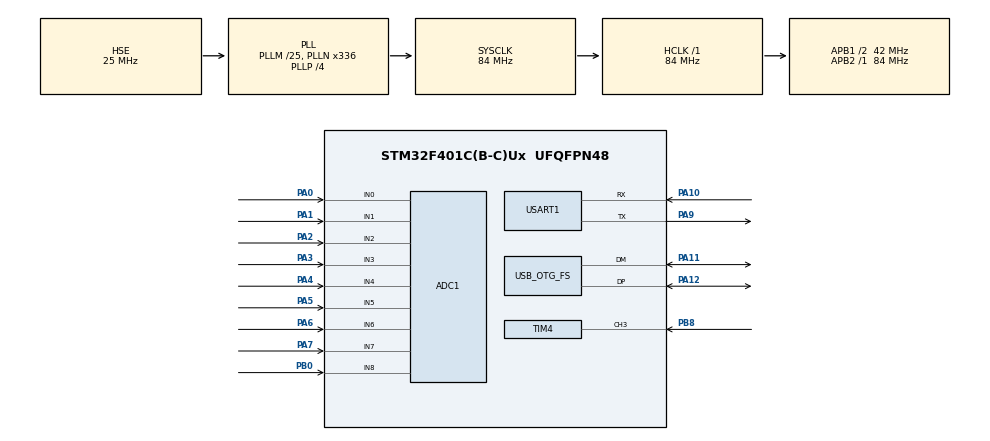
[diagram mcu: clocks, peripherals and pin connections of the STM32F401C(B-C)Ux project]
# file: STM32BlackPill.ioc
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ADC1.Channel-0\#ChannelRegularConversion=ADC_CHANNEL_0
ADC1.Channel-1\#ChannelRegularConversion=ADC_CHANNEL_1
ADC1.Channel-2\#ChannelRegularConversion=ADC_CHANNEL_2
ADC1.Channel-3\#ChannelRegularConversion=ADC_CHANNEL_3
ADC1.Channel-4\#ChannelRegularConversion=ADC_CHANNEL_4
ADC1.Channel-5\#ChannelRegularConversion=ADC_CHANNEL_5
ADC1.Channel-6\#ChannelRegularConversion=ADC_CHANNEL_6
ADC1.Channel-7\#ChannelRegularConversion=ADC_CHANNEL_7
ADC1.Channel-8\#ChannelRegularConversion=ADC_CHANNEL_8
ADC1.ContinuousConvMode=ENABLE
ADC1.DMAContinuousRequests=ENABLE
ADC1.NbrOfConversion=9
ADC1.NbrOfConversionFlag=1
ADC1.Rank-0\#ChannelRegularConversion=1
ADC1.Rank-1\#ChannelRegularConversion=2
ADC1.Rank-2\#ChannelRegularConversion=3
ADC1.Rank-3\#ChannelRegularConversion=4
ADC1.Rank-4\#ChannelRegularConversion=5
ADC1.Rank-5\#ChannelRegularConversion=6
ADC1.Rank-6\#ChannelRegularConversion=7
ADC1.Rank-7\#ChannelRegularConversion=8
ADC1.Rank-8\#ChannelRegularConversion=9
ADC1.SamplingTime-0\#ChannelRegularConversion=ADC_SAMPLETIME_480CYCLES
ADC1.SamplingTime-1\#ChannelRegularConversion=ADC_SAMPLETIME_480CYCLES
ADC1.SamplingTime-2\#ChannelRegularConversion=ADC_SAMPLETIME_480CYCLES
ADC1.SamplingTime-3\#ChannelRegularConversion=ADC_SAMPLETIME_480CYCLES
ADC1.SamplingTime-4\#ChannelRegularConversion=ADC_SAMPLETIME_480CYCLES
ADC1.SamplingTime-5\#ChannelRegularConversion=ADC_SAMPLETIME_480CYCLES
ADC1.SamplingTime-6\#ChannelRegularConversion=ADC_SAMPLETIME_480CYCLES
ADC1.SamplingTime-7\#ChannelRegularConversion=ADC_SAMPLETIME_480CYCLES
ADC1.SamplingTime-8\#ChannelRegularConversion=ADC_SAMPLETIME_480CYCLES
ADC1.ScanConvMode=ENABLE
ADC1.master=1
Dma.ADC1.0.Direction=DMA_PERIPH_TO_MEMORY
Dma.ADC1.0.FIFOMode=DMA_FIFOMODE_DISABLE
Dma.ADC1.0.Instance=DMA2_Stream0
Dma.ADC1.0.MemDataAlignment=DMA_MDATAALIGN_HALFWORD
Dma.ADC1.0.MemInc=DMA_MINC_ENABLE
Dma.ADC1.0.Mode=DMA_CIRCULAR
Dma.ADC1.0.PeriphDataAlignment=DMA_PDATAALIGN_HALFWORD
Dma.ADC1.0.PeriphInc=DMA_PINC_DISABLE
Dma.ADC1.0.Priority=DMA_PRIORITY_LOW
Dma.Request0=ADC1
Dma.Request1=TIM4_CH3
Dma.TIM4_CH3.1.Direction=DMA_PERIPH_TO_MEMORY
Dma.TIM4_CH3.1.FIFOMode=DMA_FIFOMODE_DISABLE
Dma.TIM4_CH3.1.Instance=DMA1_Stream7
Dma.TIM4_CH3.1.MemDataAlignment=DMA_MDATAALIGN_WORD
Dma.TIM4_CH3.1.MemInc=DMA_MINC_ENABLE
Dma.TIM4_CH3.1.Mode=DMA_NORMAL
Dma.TIM4_CH3.1.PeriphDataAlignment=DMA_PDATAALIGN_WORD
Dma.TIM4_CH3.1.PeriphInc=DMA_PINC_DISABLE
Dma.TIM4_CH3.1.Priority=DMA_PRIORITY_LOW
FREERTOS.Tasks01=defaultTask,0,128,StartDefaultTask,Default,NULL,Dynamic,NULL,NULL;TaskTanah,2,512,StartTaskTanah,Default,NULL,Dynamic,NULL,NULL;TaskDHT22,2,512,StartTaskDHT22,Default,NULL,Dynamic,NULL,NULL;TaskTelemetry,0,512,StartTaskTelemetry,Default,NULL,Dynamic,NULL,NULL
FREERTOS.configUSE_NEWLIB_REENTRANT=1
Mcu.Family=STM32F4
Mcu.Name=STM32F401C(B-C)Ux
Mcu.Package=UFQFPN48
NVIC.DMA1_Stream7_IRQn=true\:5\:0\:false\:false\:true\:true\:false\:true\:true
NVIC.DMA2_Stream0_IRQn=true\:5\:0\:false\:false\:true\:true\:false\:true\:true
NVIC.OTG_FS_IRQn=true\:5\:0\:false\:false\:true\:true\:false\:true\:true
NVIC.PriorityGroup=NVIC_PRIORITYGROUP_4
NVIC.TIM5_IRQn=true\:15\:0\:false\:false\:true\:false\:false\:true\:true
NVIC.TimeBase=TIM5_IRQn
NVIC.TimeBaseIP=TIM5
PA0-WKUP.Signal=ADCx_IN0
PA1.Signal=ADCx_IN1
PA10.Mode=Asynchronous
PA10.Signal=USART1_RX
PA11.Mode=Device_Only
PA11.Signal=USB_OTG_FS_DM
PA12.Mode=Device_Only
PA12.Signal=USB_OTG_FS_DP
PA2.Signal=ADCx_IN2
PA3.Signal=ADCx_IN3
PA4.Signal=ADCx_IN4
PA5.Signal=ADCx_IN5
PA6.Signal=ADCx_IN6
PA7.Signal=ADCx_IN7
PA9.Mode=Asynchronous
PA9.Signal=USART1_TX
PB0.Signal=ADCx_IN8
PB8.Signal=S_TIM4_CH3
PH0\ -\ OSC_IN.Mode=HSE-External-Oscillator
PH0\ -\ OSC_IN.Signal=RCC_OSC_IN
PH1\ -\ OSC_OUT.Mode=HSE-External-Oscillator
PH1\ -\ OSC_OUT.Signal=RCC_OSC_OUT
ProjectManager.HeapSize=0x200
ProjectManager.StackSize=0x400
ProjectManager.TargetToolchain=STM32CubeIDE
RCC.48MHZClocksFreq_Value=48000000
RCC.AHBFreq_Value=84000000
RCC.APB1CLKDivider=RCC_HCLK_DIV2
RCC.APB1Freq_Value=42000000
RCC.APB1TimFreq_Value=84000000
RCC.APB2Freq_Value=84000000
RCC.APB2TimFreq_Value=84000000
RCC.CortexFreq_Value=84000000
RCC.HCLKFreq_Value=84000000
RCC.HSE_VALUE=25000000
RCC.HSI_VALUE=16000000
RCC.LSE_VALUE=32768
RCC.PLLM=25
RCC.PLLN=336
RCC.PLLP=RCC_PLLP_DIV4
RCC.PLLQ=7
RCC.SYSCLKFreq_VALUE=84000000
RCC.SYSCLKSource=RCC_SYSCLKSOURCE_PLLCLK
RCC.VCOOutputFreq_Value=336000000
SH.ADCx_IN0.0=ADC1_IN0,IN0
SH.ADCx_IN1.0=ADC1_IN1,IN1
SH.ADCx_IN2.0=ADC1_IN2,IN2
SH.ADCx_IN3.0=ADC1_IN3,IN3
SH.ADCx_IN4.0=ADC1_IN4,IN4
SH.ADCx_IN5.0=ADC1_IN5,IN5
SH.ADCx_IN6.0=ADC1_IN6,IN6
SH.ADCx_IN7.0=ADC1_IN7,IN7
SH.ADCx_IN8.0=ADC1_IN8,IN8
SH.S_TIM4_CH3.0=TIM4_CH3,Input_Capture3_from_TI3
TIM4.Channel-Input_Capture3_from_TI3=TIM_CHANNEL_3
TIM4.ICPolarity_CH3=TIM_INPUTCHANNELPOLARITY_FALLING
TIM4.Prescaler=83
USART1.VirtualMode=VM_ASYNC
USB_DEVICE.CLASS_NAME_FS=CDC
USB_DEVICE.VirtualMode=Cdc
USB_DEVICE.VirtualModeFS=Cdc_FS
USB_OTG_FS.VirtualMode=Device_Only
VP_FREERTOS_VS_CMSIS_V1.Mode=CMSIS_V1
VP_SYS_VS_tim5.Mode=TIM5
VP_TIM4_VS_ClockSourceINT.Mode=Internal
VP_USB_DEVICE_VS_USB_DEVICE_CDC_FS.Mode=CDC_FS
board=custom

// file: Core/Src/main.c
/* USER CODE BEGIN Header */
/**
 ******************************************************************************
 * @file           : main.c
 * @brief          : Main program body
 ******************************************************************************
 * @attention
 *
 * Copyright (c) 2026 STMicroelectronics.
 * All rights reserved.
 *
 * This software is licensed under terms that can be found in the LICENSE file
 * in the root directory of this software component.
 * If no LICENSE file comes with this software, it is provided AS-IS.
 *
 ******************************************************************************
 */
/* USER CODE END Header */
#include "main.h"
#include "cmsis_os.h"
#include "usb_device.h"

/* USER CODE BEGIN Includes */
#include <stdio.h>
#include <string.h>
#include <usbd_cdc_if.h>
#include <math.h>
/* USER CODE END Includes */

ADC_HandleTypeDef hadc1;
DMA_HandleTypeDef hdma_adc1;

TIM_HandleTypeDef htim4;
DMA_HandleTypeDef hdma_tim4_ch3;

UART_HandleTypeDef huart1;

osThreadId defaultTaskHandle;
osThreadId TaskTanahHandle;
osThreadId TaskDHT22Handle;
osThreadId TaskTelemetryHandle;
/* USER CODE BEGIN PV */
float persentase_tanah[9] = { 0 };

volatile uint16_t adc_dma_buffer[9];
volatile float suhu_udara = 0.0f;
volatile float kelembapan_udara = 0.0f;
volatile float vpd_saat_ini = 0.0f;

const float ADC_DRY = 2104.2f;
const float ADC_WET = 913.7f;

uint32_t dma_capture_data[42];
/* USER CODE END PV */

void SystemClock_Config(void);
static void MX_GPIO_Init(void);
static void MX_DMA_Init(void);
static void MX_USART1_UART_Init(void);
static void MX_ADC1_Init(void);
static void MX_TIM4_Init(void);
void StartDefaultTask(void const * argument);
void StartTaskTanah(void const * argument);
void StartTaskDHT22(void const * argument);
void StartTaskTelemetry(void const * argument);

/* USER CODE BEGIN 0 */
int _write(int file, char *ptr, int len) {
	CDC_Transmit_FS((uint8_t*) ptr, len);

	osDelay(2);
	return len;
}

void Read_SensorUdara(volatile float *temp, volatile float *hum) {
	GPIO_InitTypeDef GPIO_InitStruct = { 0 };
	HAL_TIM_IC_Stop_DMA(&htim4, TIM_CHANNEL_3);
	htim4.State = HAL_TIM_STATE_READY;

	memset(dma_capture_data, 0, sizeof(dma_capture_data));
	__HAL_TIM_SET_COUNTER(&htim4, 0);

	GPIO_InitStruct.Pin = GPIO_PIN_8;
	GPIO_InitStruct.Mode = GPIO_MODE_OUTPUT_OD;
	GPIO_InitStruct.Pull = GPIO_PULLUP;
	GPIO_InitStruct.Speed = GPIO_SPEED_FREQ_HIGH;
	HAL_GPIO_Init(GPIOB, &GPIO_InitStruct);

	HAL_GPIO_WritePin(GPIOB, GPIO_PIN_8, GPIO_PIN_RESET);
	osDelay(2);

	HAL_TIM_IC_Start_DMA(&htim4, TIM_CHANNEL_3, (uint32_t*) dma_capture_data,
			42);

	HAL_GPIO_WritePin(GPIOB, GPIO_PIN_8, GPIO_PIN_SET);

	GPIO_InitStruct.Mode = GPIO_MODE_AF_OD;
	GPIO_InitStruct.Alternate = GPIO_AF2_TIM4;
	HAL_GPIO_Init(GPIOB, &GPIO_InitStruct);

	osDelay(10);

	HAL_TIM_IC_Stop_DMA(&htim4, TIM_CHANNEL_3);

	if (dma_capture_data[41] == 0) {
		printf("[DHT DMA ERROR] Timeout! Sensor Tidak Merespon atau Kabel Kendor.\n");

		return;
	}

	uint8_t bytes[5] = { 0, 0, 0, 0, 0 };

	for (int i = 0; i < 40; i++) {
		uint32_t selisih_waktu = dma_capture_data[i + 2]
				- dma_capture_data[i + 1];
		bytes[i / 8] <<= 1;
		if (selisih_waktu > 100) {
			bytes[i / 8] |= 1;
		}
	}

	uint8_t checksum = bytes[0] + bytes[1] + bytes[2] + bytes[3];
	if (bytes[4] == checksum) {
		*hum = (float) (((uint16_t) bytes[0] << 8) | bytes[1]) / 10.0f;

		float t = (float) (((uint16_t) (bytes[2] & 0x7F) << 8) | bytes[3])
				/ 10.0f;
		if (bytes[2] & 0x80) {
			t *= -1.0f;
		}
		*temp = t;

//		printf("[DHT22 DMA] Suhu: %.1f C | Hum: %.1f %%\n", *temp, *hum);
	} else {
		printf(
				"[DHT DMA ERROR] Checksum Gagal! Raw: %02X %02X %02X %02X %02X\n",
				bytes[0], bytes[1], bytes[2], bytes[3], bytes[4]);
	}
}

float Calculate_VPD(float temp_c, float rh) {
	float svp = 0.61078f * expf((17.27f * temp_c) / (temp_c + 237.3f));

	float avp = svp * (rh / 100.0f);
	return svp - avp;
}
/* USER CODE END 0 */

int main(void)
{

  /* MCU Configuration--------------------------------------------------------*/

  /* Reset of all peripherals, Initializes the Flash interface and the Systick. */
  HAL_Init();

  /* Configure the system clock */
  SystemClock_Config();

  /* Initialize all configured peripherals */
  MX_GPIO_Init();
  MX_DMA_Init();
  MX_USART1_UART_Init();
  MX_ADC1_Init();
  MX_TIM4_Init();
  /* USER CODE BEGIN 2 */
	HAL_ADC_Start_DMA(&hadc1, (uint32_t*) adc_dma_buffer, 9);
  /* USER CODE END 2 */

  /* Create the thread(s) */
  /* definition and creation of defaultTask */
  osThreadDef(defaultTask, StartDefaultTask, osPriorityNormal, 0, 128);
  defaultTaskHandle = osThreadCreate(osThread(defaultTask), NULL);

  /* definition and creation of TaskTanah */
  osThreadDef(TaskTanah, StartTaskTanah, osPriorityHigh, 0, 512);
  TaskTanahHandle = osThreadCreate(osThread(TaskTanah), NULL);

  /* definition and creation of TaskDHT22 */
  osThreadDef(TaskDHT22, StartTaskDHT22, osPriorityHigh, 0, 512);
  TaskDHT22Handle = osThreadCreate(osThread(TaskDHT22), NULL);

  /* definition and creation of TaskTelemetry */
  osThreadDef(TaskTelemetry, StartTaskTelemetry, osPriorityNormal, 0, 512);
  TaskTelemetryHandle = osThreadCreate(osThread(TaskTelemetry), NULL);

  /* Start scheduler */
  osKernelStart();

  /* We should never get here as control is now taken by the scheduler */

  /* Infinite loop */
	while (1) {

	}
}

void SystemClock_Config(void)
{
  RCC_OscInitTypeDef RCC_OscInitStruct = {0};
  RCC_ClkInitTypeDef RCC_ClkInitStruct = {0};

  /** Configure the main internal regulator output voltage
  */
  __HAL_RCC_PWR_CLK_ENABLE();
  __HAL_PWR_VOLTAGESCALING_CONFIG(PWR_REGULATOR_VOLTAGE_SCALE2);

  /** Initializes the RCC Oscillators according to the specified parameters
  * in the RCC_OscInitTypeDef structure.
  */
  RCC_OscInitStruct.OscillatorType = RCC_OSCILLATORTYPE_HSE;
  RCC_OscInitStruct.HSEState = RCC_HSE_ON;
  RCC_OscInitStruct.PLL.PLLState = RCC_PLL_ON;
  RCC_OscInitStruct.PLL.PLLSource = RCC_PLLSOURCE_HSE;
  RCC_OscInitStruct.PLL.PLLM = 25;
  RCC_OscInitStruct.PLL.PLLN = 336;
  RCC_OscInitStruct.PLL.PLLP = RCC_PLLP_DIV4;
  RCC_OscInitStruct.PLL.PLLQ = 7;
  if (HAL_RCC_OscConfig(&RCC_OscInitStruct) != HAL_OK)
  {
    Error_Handler();
  }

  /** Initializes the CPU, AHB and APB buses clocks
  */
  RCC_ClkInitStruct.ClockType = RCC_CLOCKTYPE_HCLK|RCC_CLOCKTYPE_SYSCLK
                              |RCC_CLOCKTYPE_PCLK1|RCC_CLOCKTYPE_PCLK2;
  RCC_ClkInitStruct.SYSCLKSource = RCC_SYSCLKSOURCE_PLLCLK;
  RCC_ClkInitStruct.AHBCLKDivider = RCC_SYSCLK_DIV1;
  RCC_ClkInitStruct.APB1CLKDivider = RCC_HCLK_DIV2;
  RCC_ClkInitStruct.APB2CLKDivider = RCC_HCLK_DIV1;

  if (HAL_RCC_ClockConfig(&RCC_ClkInitStruct, FLASH_LATENCY_2) != HAL_OK)
  {
    Error_Handler();
  }
}

static void MX_ADC1_Init(void)
{

  ADC_ChannelConfTypeDef sConfig = {0};

  /** Configure the global features of the ADC (Clock, Resolution, Data Alignment and number of conversion)
  */
  hadc1.Instance = ADC1;
  hadc1.Init.ClockPrescaler = ADC_CLOCK_SYNC_PCLK_DIV4;
  hadc1.Init.Resolution = ADC_RESOLUTION_12B;
  hadc1.Init.ScanConvMode = ENABLE;
  hadc1.Init.ContinuousConvMode = ENABLE;
  hadc1.Init.DiscontinuousConvMode = DISABLE;
  hadc1.Init.ExternalTrigConvEdge = ADC_EXTERNALTRIGCONVEDGE_NONE;
  hadc1.Init.ExternalTrigConv = ADC_SOFTWARE_START;
  hadc1.Init.DataAlign = ADC_DATAALIGN_RIGHT;
  hadc1.Init.NbrOfConversion = 9;
  hadc1.Init.DMAContinuousRequests = ENABLE;
  hadc1.Init.EOCSelection = ADC_EOC_SINGLE_CONV;
  if (HAL_ADC_Init(&hadc1) != HAL_OK)
  {
    Error_Handler();
  }

  /** Configure for the selected ADC regular channel its corresponding rank in the sequencer and its sample time.
  */
  sConfig.Channel = ADC_CHANNEL_0;
  sConfig.Rank = 1;
  sConfig.SamplingTime = ADC_SAMPLETIME_480CYCLES;
  if (HAL_ADC_ConfigChannel(&hadc1, &sConfig) != HAL_OK)
  {
    Error_Handler();
  }

  /** Configure for the selected ADC regular channel its corresponding rank in the sequencer and its sample time.
  */
  sConfig.Channel = ADC_CHANNEL_1;
  sConfig.Rank = 2;
  if (HAL_ADC_ConfigChannel(&hadc1, &sConfig) != HAL_OK)
  {
    Error_Handler();
  }

  /** Configure for the selected ADC regular channel its corresponding rank in the sequencer and its sample time.
  */
  sConfig.Channel = ADC_CHANNEL_2;
  sConfig.Rank = 3;
  if (HAL_ADC_ConfigChannel(&hadc1, &sConfig) != HAL_OK)
  {
    Error_Handler();
  }

  /** Configure for the selected ADC regular channel its corresponding rank in the sequencer and its sample time.
  */
  sConfig.Channel = ADC_CHANNEL_3;
  sConfig.Rank = 4;
  if (HAL_ADC_ConfigChannel(&hadc1, &sConfig) != HAL_OK)
  {
    Error_Handler();
  }

  /** Configure for the selected ADC regular channel its corresponding rank in the sequencer and its sample time.
  */
  sConfig.Channel = ADC_CHANNEL_4;
  sConfig.Rank = 5;
  if (HAL_ADC_ConfigChannel(&hadc1, &sConfig) != HAL_OK)
  {
    Error_Handler();
  }

  /** Configure for the selected ADC regular channel its corresponding rank in the sequencer and its sample time.
  */
  sConfig.Channel = ADC_CHANNEL_5;
  sConfig.Rank = 6;
  if (HAL_ADC_ConfigChannel(&hadc1, &sConfig) != HAL_OK)
  {
    Error_Handler();
  }

  /** Configure for the selected ADC regular channel its corresponding rank in the sequencer and its sample time.
  */
  sConfig.Channel = ADC_CHANNEL_6;
  sConfig.Rank = 7;
  if (HAL_ADC_ConfigChannel(&hadc1, &sConfig) != HAL_OK)
  {
    Error_Handler();
  }

  /** Configure for the selected ADC regular channel its corresponding rank in the sequencer and its sample time.
  */
  sConfig.Channel = ADC_CHANNEL_7;
  sConfig.Rank = 8;
  if (HAL_ADC_ConfigChannel(&hadc1, &sConfig) != HAL_OK)
  {
    Error_Handler();
  }

  /** Configure for the selected ADC regular channel its corresponding rank in the sequencer and its sample time.
  */
  sConfig.Channel = ADC_CHANNEL_8;
  sConfig.Rank = 9;
  if (HAL_ADC_ConfigChannel(&hadc1, &sConfig) != HAL_OK)
  {
    Error_Handler();
  }

}

static void MX_TIM4_Init(void)
{

  TIM_ClockConfigTypeDef sClockSourceConfig = {0};
  TIM_MasterConfigTypeDef sMasterConfig = {0};
  TIM_IC_InitTypeDef sConfigIC = {0};

  htim4.Instance = TIM4;
  htim4.Init.Prescaler = 83;
  htim4.Init.CounterMode = TIM_COUNTERMODE_UP;
  htim4.Init.Period = 65535;
  htim4.Init.ClockDivision = TIM_CLOCKDIVISION_DIV1;
  htim4.Init.AutoReloadPreload = TIM_AUTORELOAD_PRELOAD_DISABLE;
  if (HAL_TIM_Base_Init(&htim4) != HAL_OK)
  {
    Error_Handler();
  }
  sClockSourceConfig.ClockSource = TIM_CLOCKSOURCE_INTERNAL;
  if (HAL_TIM_ConfigClockSource(&htim4, &sClockSourceConfig) != HAL_OK)
  {
    Error_Handler();
  }
  if (HAL_TIM_IC_Init(&htim4) != HAL_OK)
  {
    Error_Handler();
  }
  sMasterConfig.MasterOutputTrigger = TIM_TRGO_RESET;
  sMasterConfig.MasterSlaveMode = TIM_MASTERSLAVEMODE_DISABLE;
  if (HAL_TIMEx_MasterConfigSynchronization(&htim4, &sMasterConfig) != HAL_OK)
  {
    Error_Handler();
  }
  sConfigIC.ICPolarity = TIM_INPUTCHANNELPOLARITY_FALLING;
  sConfigIC.ICSelection = TIM_ICSELECTION_DIRECTTI;
  sConfigIC.ICPrescaler = TIM_ICPSC_DIV1;
  sConfigIC.ICFilter = 0;
  if (HAL_TIM_IC_ConfigChannel(&htim4, &sConfigIC, TIM_CHANNEL_3) != HAL_OK)
  {
    Error_Handler();
  }

}

static void MX_USART1_UART_Init(void)
{

  huart1.Instance = USART1;
  huart1.Init.BaudRate = 115200;
  huart1.Init.WordLength = UART_WORDLENGTH_8B;
  huart1.Init.StopBits = UART_STOPBITS_1;
  huart1.Init.Parity = UART_PARITY_NONE;
  huart1.Init.Mode = UART_MODE_TX_RX;
  huart1.Init.HwFlowCtl = UART_HWCONTROL_NONE;
  huart1.Init.OverSampling = UART_OVERSAMPLING_16;
  if (HAL_UART_Init(&huart1) != HAL_OK)
  {
    Error_Handler();
  }

}

static void MX_DMA_Init(void)
{

  /* DMA controller clock enable */
  __HAL_RCC_DMA2_CLK_ENABLE();
  __HAL_RCC_DMA1_CLK_ENABLE();

  /* DMA interrupt init */
  /* DMA1_Stream7_IRQn interrupt configuration */
  HAL_NVIC_SetPriority(DMA1_Stream7_IRQn, 5, 0);
  HAL_NVIC_EnableIRQ(DMA1_Stream7_IRQn);
  /* DMA2_Stream0_IRQn interrupt configuration */
  HAL_NVIC_SetPriority(DMA2_Stream0_IRQn, 5, 0);
  HAL_NVIC_EnableIRQ(DMA2_Stream0_IRQn);

}

static void MX_GPIO_Init(void)
{

  /* GPIO Ports Clock Enable */
  __HAL_RCC_GPIOH_CLK_ENABLE();
  __HAL_RCC_GPIOA_CLK_ENABLE();
  __HAL_RCC_GPIOB_CLK_ENABLE();

}

void StartDefaultTask(void const * argument)
{
  /* init code for USB_DEVICE */
  MX_USB_DEVICE_Init();
	for (;;) {
		osDelay(1);
	}
}

void StartTaskTanah(void const * argument)
{
  /* USER CODE BEGIN StartTaskTanah */
	uint8_t first_read = 1;
	uint16_t raw_tanah0;
	uint8_t counter = 0;
	const float EMA_ALPHA = 0.2f; // Faktor smoothing (20% data baru, 80% data lama)

	/* Infinite loop */
	for (;;) {
		raw_tanah0 = adc_dma_buffer[0];
		printf("ADC_RAW[%d]: %d\n", counter, raw_tanah0); counter++;
		for (int i = 0; i < 9; i++) {
			float raw_tanah = (float) adc_dma_buffer[i];
			float persentase = ((ADC_DRY - raw_tanah) / (ADC_DRY - ADC_WET))
					* 100.0f;

			if (persentase > 100.0f) {
				persentase = 100.0f;
			} else if (persentase < 0.0f) {
				persentase = 0.0f;
			}

			if (first_read) {
				persentase_tanah[i] = persentase; // Inisialisasi langsung nilai pertama
			} else {
				// Exponential Moving Average (EMA) Filter
				persentase_tanah[i] = (EMA_ALPHA * persentase) + ((1.0f - EMA_ALPHA) * persentase_tanah[i]);
			}
		}

		first_read = 0;
		osDelay(3000);
	}
  /* USER CODE END StartTaskTanah */
}

void StartTaskDHT22(void const * argument)
{
  /* USER CODE BEGIN StartTaskDHT22 */
	/* Infinite loop */
	for (;;) {
		Read_SensorUdara(&suhu_udara, &kelembapan_udara);
		vpd_saat_ini = Calculate_VPD(suhu_udara, kelembapan_udara);

		osDelay(10000);
	}
  /* USER CODE END StartTaskDHT22 */
}

void StartTaskTelemetry(void const * argument)
{
  /* USER CODE BEGIN StartTaskTelemetry */
	char jsonBuffer[512];

		printf("[SYSTEM] Task Telemetri Monitor Aktif dengan Heartbeat!\n");

		/* Infinite loop */
		for (;;) {
			uint32_t uptime_detik = osKernelSysTick() / 1000;
			uint32_t sisa_ram = xPortGetFreeHeapSize();

			sprintf(jsonBuffer,
					"{\"device_id\":\"SOGA-MONITOR-01\",\"air_temperature\":%.2f,\"air_humidity\":%.2f,\"vpd\":%.2f,\"soil_moisture\":[%.2f,%.2f,%.2f,%.2f,%.2f,%.2f,%.2f,%.2f,%.2f],\"uptime\":%lu,\"free_heap\":%lu}\n",
					suhu_udara, kelembapan_udara, vpd_saat_ini,
					persentase_tanah[0], persentase_tanah[1], persentase_tanah[2],
					persentase_tanah[3], persentase_tanah[4], persentase_tanah[5],
					persentase_tanah[6], persentase_tanah[7], persentase_tanah[8],
					uptime_detik, sisa_ram);

			HAL_UART_Transmit(&huart1, (uint8_t*) jsonBuffer, strlen(jsonBuffer), 100);
			osDelay(3000);
		}
  /* USER CODE END StartTaskTelemetry */
}

void HAL_TIM_PeriodElapsedCallback(TIM_HandleTypeDef *htim)
{
  if (htim->Instance == TIM5)
  {
    HAL_IncTick();
  }
}

void Error_Handler(void)
{
	__disable_irq();
	while (1) {
	}
}
